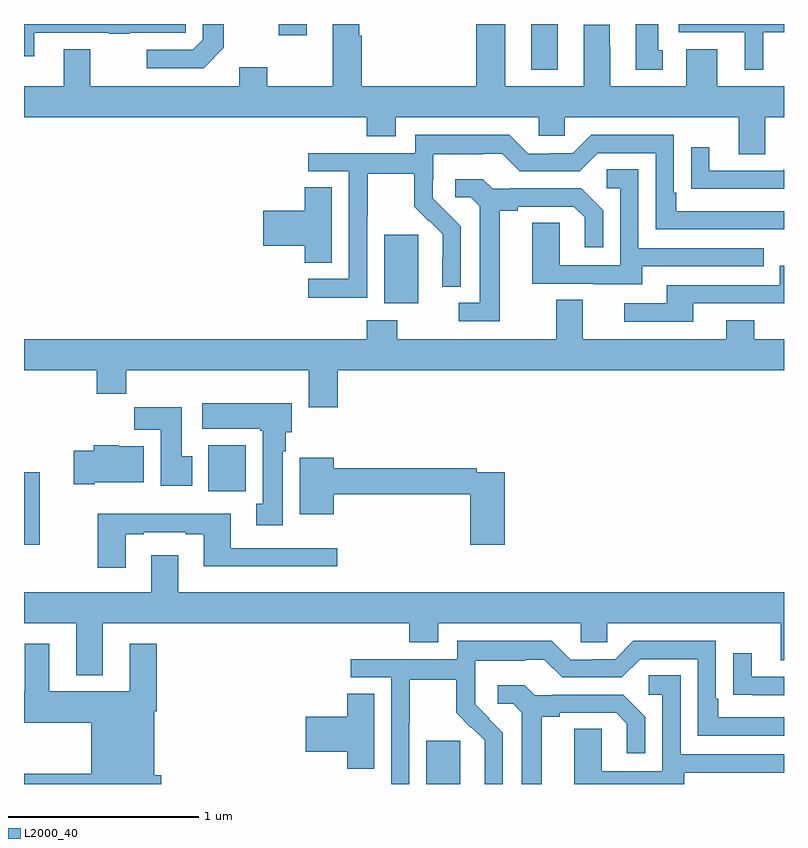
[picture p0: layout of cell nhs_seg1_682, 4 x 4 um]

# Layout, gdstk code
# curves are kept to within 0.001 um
import gdstk
lib = gdstk.Library(unit=1e-6, precision=1e-09)
def R(c, l, rs):  # rectangles x0, y0, x1, y1
    for r in rs: c.add(gdstk.rectangle(r[:2], r[2:], *l))
def P(c, l, *ps):  # polygons
    for p in ps: c.add(gdstk.Polygon(p, *l))
L2000_40 = (2000, 40)

nhs_seg1_682 = lib.new_cell('nhs_seg1_682')
R(nhs_seg1_682, L2000_40, [(149.117,572.199,149.296,572.427), (147,573.459,147.084,573.84), (147.971,573.74,148.168,573.982), (148.895,574.73,149.074,575.091), (149.669,575.957,149.809,576.199), (148.341,576.141,148.489,576.199), (148.901,576.198,149.064,576.199)])
P(nhs_seg1_682, L2000_40, [(147.055,576.153),(147.445,576.153),(147.445,576.148),(147.557,576.148),(147.557,576.153),(147.852,576.153),(147.852,576.199),(147,576.199),(147,576.03),(147.055,576.03)],
  [(150.892,576.156),(151,576.156),(151,576.199),(150.447,576.199),(150.447,576.156),(150.794,576.156),(150.794,575.957),(150.892,575.957)],
  [(148.051,576.073),(148.051,576.199),(147.942,576.199),(147.942,576.117),(147.888,576.063),(147.645,576.063),(147.645,575.967),(147.945,575.967)],
  [(150.361,576.06),(150.337,576.06),(150.337,576.199),(150.221,576.199),(150.221,575.958),(150.361,575.958)],
  [(150.901,575.708),(151,575.708),(151,575.872),(150.649,575.872),(150.649,576.067),(150.485,576.067),(150.485,575.872),(150.085,575.872),(150.085,576.083),(150.082,576.083),(150.082,576.196),(149.945,576.196),(149.945,575.872),(149.533,575.872),(149.533,576.199),(149.381,576.199),(149.381,575.872),(148.778,575.872),(148.778,576.137),(148.765,576.137),(148.765,576.199),(148.625,576.199),(148.625,575.872),(148.281,575.872),(148.281,575.971),(148.133,575.971),(148.133,575.872),(147.349,575.872),(147.349,576.067),(147.209,576.067),(147.209,575.872),(147,575.872),(147,575.708),(148.805,575.708),(148.805,575.609),(148.957,575.609),(148.957,575.708),(149.709,575.708),(149.709,575.61),(149.847,575.61),(149.847,575.708),(150.761,575.708),(150.761,575.514),(150.901,575.514)],
  [(148.806,575.188),(148.809,575.188),(148.809,575.412),(149.053,575.412),(149.053,575.237),(149.13,575.16),(149.133,575.163),(149.204,575.093),(149.204,574.97),(149.202,574.97),(149.202,574.816),(149.298,574.816),(149.298,575.134),(149.152,575.282),(149.152,575.379),(149.154,575.379),(149.154,575.513),(149.417,575.513),(149.417,575.517),(149.517,575.517),(149.61,575.424),(149.925,575.424),(150.021,575.52),(150.324,575.52),(150.324,575.118),(151,575.118),(151,575.214),(150.433,575.214),(150.433,575.311),(150.42,575.311),(150.42,575.616),(149.985,575.616),(149.889,575.52),(149.771,575.52),(149.771,575.517),(149.655,575.517),(149.555,575.617),(149.058,575.617),(149.058,575.52),(148.497,575.52),(148.497,575.424),(148.71,575.424),(148.71,574.857),(148.497,574.857),(148.497,574.759),(148.806,574.759)],
  [(151,575.432),(150.997,575.432),(150.997,575.427),(150.607,575.427),(150.607,575.551),(150.511,575.551),(150.511,575.332),(150.613,575.332),(150.613,575.331),(151,575.331)],
  [(150.253,574.923),(150.893,574.923),(150.893,575.019),(150.234,575.019),(150.234,575.435),(150.066,575.435),(150.066,575.334),(150.138,575.334),(150.138,574.929),(149.82,574.929),(149.82,575.153),(149.675,575.153),(149.675,574.833),(149.999,574.833),(149.999,574.829),(150.253,574.829)],
  [(149.503,575.216),(149.599,575.216),(149.599,575.238),(149.894,575.238),(149.951,575.181),(149.951,575.025),(150.048,575.025),(150.048,575.218),(149.932,575.334),(149.56,575.334),(149.56,575.331),(149.466,575.331),(149.414,575.383),(149.271,575.383),(149.271,575.286),(149.352,575.286),(149.399,575.239),(149.399,574.731),(149.289,574.731),(149.289,574.635),(149.503,574.635)],
  [(148.621,575.339),(148.478,575.339),(148.478,575.216),(148.26,575.216),(148.26,575.033),(148.478,575.033),(148.478,574.942),(148.621,574.942)],
  [(150.523,574.728),(151,574.728),(151,574.927),(150.978,574.927),(150.978,574.824),(150.383,574.824),(150.383,574.728),(150.159,574.728),(150.159,574.632),(150.523,574.632)],
  [(151,574.54),(150.843,574.54),(150.843,574.639),(150.695,574.639),(150.695,574.54),(149.941,574.54),(149.941,574.748),(149.801,574.748),(149.801,574.54),(148.965,574.54),(148.965,574.639),(148.805,574.639),(148.805,574.54),(147,574.54),(147,574.376),(147.383,574.376),(147.383,574.252),(147.539,574.252),(147.539,574.376),(148.499,574.376),(148.499,574.182),(148.652,574.182),(148.652,574.376),(151,574.376)],
  [(148.363,573.95),(148.378,573.95),(148.378,574.05),(148.408,574.05),(148.408,574.204),(147.939,574.204),(147.939,574.07),(148.243,574.07),(148.243,574.057),(148.256,574.057),(148.256,573.674),(148.223,573.674),(148.223,573.561),(148.363,573.561)],
  [(147.886,573.924),(147.829,573.924),(147.829,574.183),(147.58,574.183),(147.58,574.064),(147.719,574.064),(147.719,573.768),(147.886,573.768)],
  [(147.373,573.788),(147.631,573.788),(147.631,573.976),(147.498,573.976),(147.498,573.982),(147.368,573.982),(147.368,573.954),(147.261,573.954),(147.261,573.776),(147.373,573.776)],
  [(149.531,573.84),(149.384,573.84),(149.384,573.86),(148.63,573.86),(148.63,573.916),(148.451,573.916),(148.451,573.62),(148.63,573.62),(148.63,573.724),(149.348,573.724),(149.348,573.459),(149.531,573.459)],
  [(147.535,573.513),(147.631,573.513),(147.631,573.525),(147.851,573.525),(147.851,573.513),(147.947,573.513),(147.947,573.344),(148.648,573.344),(148.648,573.441),(148.087,573.441),(148.087,573.622),(147.388,573.622),(147.388,573.336),(147.535,573.336)],
  [(147.415,573.044),(149.027,573.044),(149.027,572.945),(149.179,572.945),(149.179,573.044),(149.931,573.044),(149.931,572.946),(150.069,572.946),(150.069,573.044),(150.983,573.044),(150.983,572.85),(151,572.85),(151,573.208),(147.811,573.208),(147.811,573.403),(147.671,573.403),(147.671,573.208),(147,573.208),(147,573.044),(147.275,573.044),(147.275,572.771),(147.415,572.771)],
  [(149.028,572.524),(149.031,572.524),(149.031,572.748),(149.275,572.748),(149.275,572.573),(149.352,572.496),(149.355,572.499),(149.426,572.429),(149.426,572.306),(149.424,572.306),(149.424,572.199),(149.52,572.199),(149.52,572.47),(149.374,572.618),(149.374,572.715),(149.376,572.715),(149.376,572.849),(149.639,572.849),(149.639,572.853),(149.739,572.853),(149.832,572.76),(150.147,572.76),(150.243,572.856),(150.546,572.856),(150.546,572.454),(151,572.454),(151,572.55),(150.655,572.55),(150.655,572.647),(150.642,572.647),(150.642,572.952),(150.207,572.952),(150.111,572.856),(149.993,572.856),(149.993,572.853),(149.877,572.853),(149.777,572.953),(149.28,572.953),(149.28,572.856),(148.719,572.856),(148.719,572.76),(148.932,572.76),(148.932,572.199),(149.028,572.199)],
  [(147.722,572.244),(147.685,572.244),(147.685,572.582),(147.698,572.582),(147.698,572.938),(147.557,572.938),(147.557,572.686),(147.133,572.686),(147.133,572.938),(147.005,572.938),(147.005,572.686),(147,572.686),(147,572.522),(147.353,572.522),(147.353,572.252),(147,572.252),(147,572.199),(147.722,572.199)],
  [(151,572.763),(150.829,572.763),(150.829,572.887),(150.733,572.887),(150.733,572.668),(150.835,572.668),(150.835,572.667),(151,572.667)],
  [(150.475,572.259),(151,572.259),(151,572.355),(150.456,572.355),(150.456,572.771),(150.288,572.771),(150.288,572.67),(150.36,572.67),(150.36,572.265),(150.042,572.265),(150.042,572.489),(149.897,572.489),(149.897,572.199),(150.475,572.199)],
  [(149.725,572.552),(149.821,572.552),(149.821,572.574),(150.116,572.574),(150.173,572.517),(150.173,572.361),(150.27,572.361),(150.27,572.554),(150.154,572.67),(149.782,572.67),(149.782,572.667),(149.688,572.667),(149.636,572.719),(149.493,572.719),(149.493,572.622),(149.574,572.622),(149.621,572.575),(149.621,572.199),(149.725,572.199)],
  [(148.843,572.675),(148.7,572.675),(148.7,572.552),(148.482,572.552),(148.482,572.369),(148.7,572.369),(148.7,572.278),(148.843,572.278)])

lib.write_gds('nhs_seg1_682.gds')
